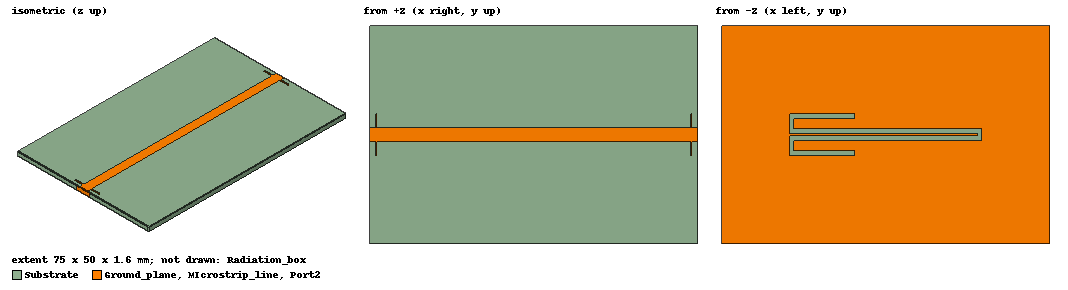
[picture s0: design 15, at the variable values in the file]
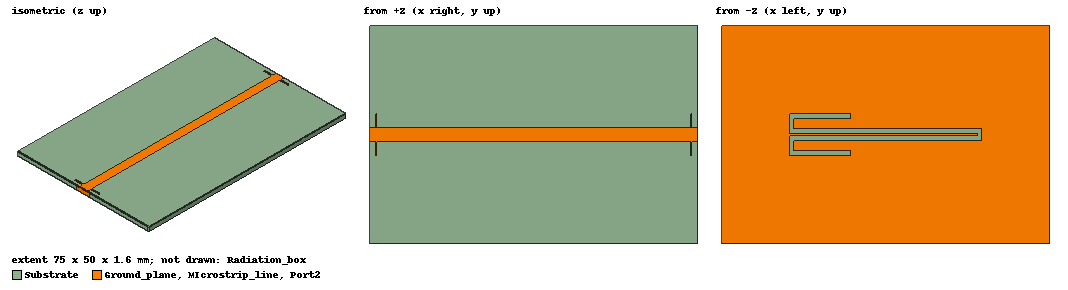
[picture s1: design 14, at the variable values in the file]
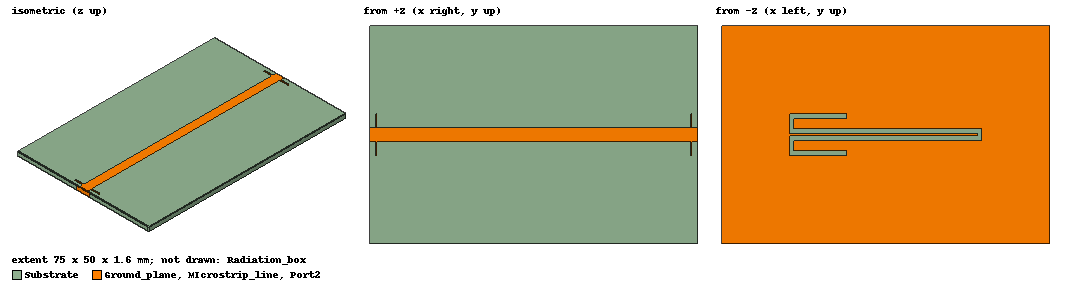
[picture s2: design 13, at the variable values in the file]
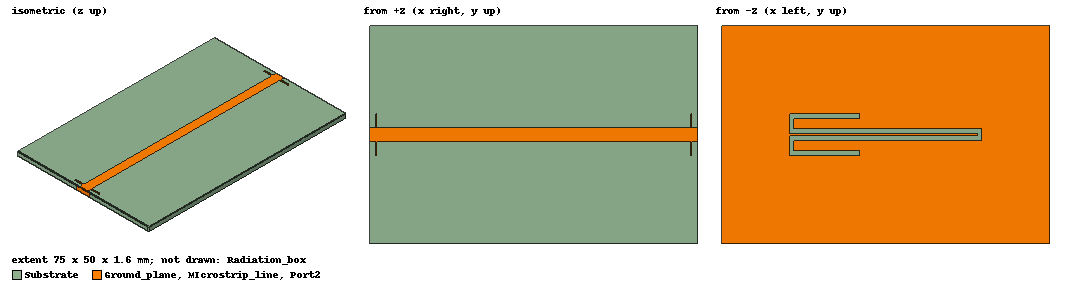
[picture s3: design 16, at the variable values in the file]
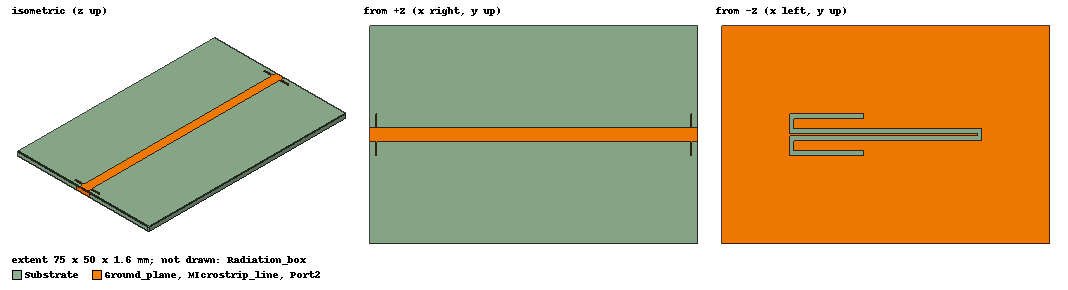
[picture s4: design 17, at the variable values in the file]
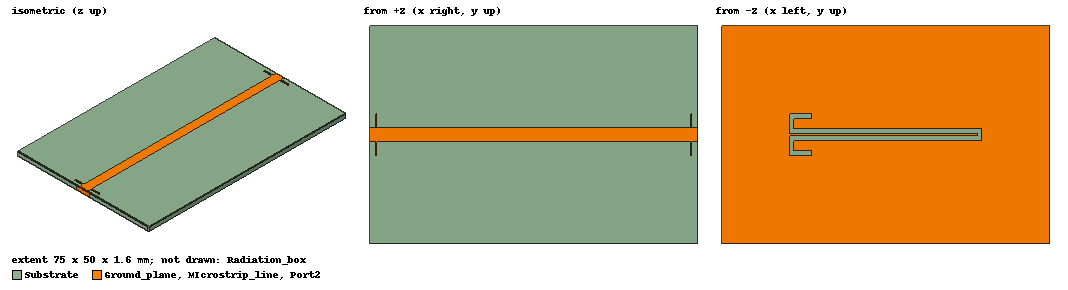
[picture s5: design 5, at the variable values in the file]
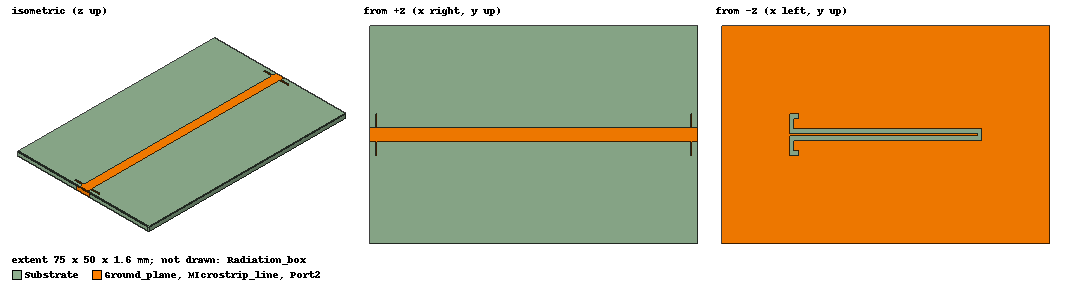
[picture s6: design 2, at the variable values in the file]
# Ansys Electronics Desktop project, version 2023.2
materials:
  vacuum: permittivity=1
  FR4_epoxy: permittivity=4.4 dielectric_loss_tangent=0.02
  air: permittivity=1.0006 permeability=1.0000004

design 15 (HFSS, HFSS Terminal Network, model units mm)
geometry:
  Substrate [FR4_epoxy] = box(corner=(-37.5mm, -25mm, 0mm), size=(75mm, 50mm, 1.6mm))
  Ground_plane = rectangle(corner=(-37.5mm, -25mm, 0mm), x_size=75mm, y_size=50mm)
  Rectangle1 = rectangle(corner=(-22mm, -1.3mm, 0mm), x_size=44mm, y_size=1mm)
  Rectangle2 = rectangle(corner=(-22mm, 0.3mm, 0mm), x_size=44mm, y_size=1mm)
  Rectangle3 = rectangle(corner=(-22mm, -0.3mm, 0mm), x_size=1mm, y_size=0.6mm)
  Rectangle4 = rectangle(corner=(22mm, -1.3mm, 0mm), x_size=-1mm, y_size=-2.4mm)
  Rectangle5 = rectangle(corner=(22mm, 3.7mm, 0mm), x_size=-1mm, y_size=-2.4mm)
  Rectangle6 = rectangle(corner=(22mm, -3.7mm, 0mm), x_size=-15mm, y_size=-1mm)
  Rectangle7 = rectangle(corner=(22mm, 4.7mm, 0mm), x_size=-15mm, y_size=-1mm)
  Ground_plane.subtract(Rectangle1..Rectangle7)
  MIcrostrip_line = rectangle(corner=(-37.5mm, -1.5mm, 1.6mm), x_size=75mm, y_size=3mm)
  Rectangle8 = rectangle(corner=(35.8mm, -1.5mm, 1.6mm), x_size=0.4mm, y_size=-3.4mm)
  Rectangle9 = rectangle(corner=(35.8mm, 1.5mm, 1.6mm), x_size=0.4mm, y_size=3.4mm)
  Rectangle10 = rectangle(corner=(-36.2mm, -1.5mm, 1.6mm), x_size=0.4mm, y_size=-3.4mm)
  Rectangle11 = rectangle(corner=(-36.2mm, 1.5mm, 1.6mm), x_size=0.4mm, y_size=3.4mm)
  MIcrostrip_line.unite(Rectangle8..Rectangle11)
  Port1 = rectangle(corner=(-37.5mm, -2.5mm, 1.6mm), y_size=5mm, z_size=-1.6mm)
  Port2 = rectangle(corner=(37.5mm, -2.5mm, 1.6mm), y_size=5mm, z_size=-1.6mm)
  Radiation_box [air] = box(corner=(-60mm, -45mm, -10mm), size=(125mm, 90mm, 35mm))
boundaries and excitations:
  PerfE1: Perfect E Objects=Ground_plane
  PerfE2: Perfect E Objects=MIcrostrip_line
  Rad1: Radiation Objects=Radiation_box
  1: Lumped Port Objects=Port1 LumpedPortType=Modal Modes{Mode1{IntLine{(-37.5, 0, 0) -> (-37.5, 0, 1.6)} CharImp=Zpi RenormImp=50ohm}} Impedance=50ohm
  2: Lumped Port Objects=Port2 LumpedPortType=Modal Modes{Mode1{IntLine{(37.5, 0, 0) -> (37.5, 0, 1.6)} CharImp=Zpi RenormImp=50ohm}} Impedance=50ohm
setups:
  Setup1: HfssDriven Frequency=1GHz MaxDeltaS=0.02 MaximumPasses=6 MinimumPasses=1 MinimumConvergedPasses=1 PercentRefinement=30 BasisOrder=1 PortAccuracy=2 DrivenSolverType="Direct Solver"
    sweep Sweep: 0.1GHz to 1.5GHz, 801 points; Type=Fast SaveFields
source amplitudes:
  1:1: 1V 0deg
  2:1: 0V 0deg
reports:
  S Parameter Plot 1: dB(S(1,1)), dB(S(2,1)), dB(S(1,2)), dB(S(2,2)) vs Freq on Setup1 : Sweep; markers m1 at 0.317GHz, m2 at 0.93825GHz, m3 at 0.926GHz, m4 at 0.9505GHz, m5 at 0.63375GHz, m6 at 1.19025GHz

design 14 (HFSS, HFSS Terminal Network, model units mm)
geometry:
  Substrate [FR4_epoxy] = box(corner=(-37.5mm, -25mm, 0mm), size=(75mm, 50mm, 1.6mm))
  Ground_plane = rectangle(corner=(-37.5mm, -25mm, 0mm), x_size=75mm, y_size=50mm)
  Rectangle1 = rectangle(corner=(-22mm, -1.3mm, 0mm), x_size=44mm, y_size=1mm)
  Rectangle2 = rectangle(corner=(-22mm, 0.3mm, 0mm), x_size=44mm, y_size=1mm)
  Rectangle3 = rectangle(corner=(-22mm, -0.3mm, 0mm), x_size=1mm, y_size=0.6mm)
  Rectangle4 = rectangle(corner=(22mm, -1.3mm, 0mm), x_size=-1mm, y_size=-2.4mm)
  Rectangle5 = rectangle(corner=(22mm, 3.7mm, 0mm), x_size=-1mm, y_size=-2.4mm)
  Rectangle6 = rectangle(corner=(22mm, -3.7mm, 0mm), x_size=-14mm, y_size=-1mm)
  Rectangle7 = rectangle(corner=(22mm, 4.7mm, 0mm), x_size=-14mm, y_size=-1mm)
  Ground_plane.subtract(Rectangle1..Rectangle7)
  MIcrostrip_line = rectangle(corner=(-37.5mm, -1.5mm, 1.6mm), x_size=75mm, y_size=3mm)
  Rectangle8 = rectangle(corner=(35.8mm, -1.5mm, 1.6mm), x_size=0.4mm, y_size=-3.4mm)
  Rectangle9 = rectangle(corner=(35.8mm, 1.5mm, 1.6mm), x_size=0.4mm, y_size=3.4mm)
  Rectangle10 = rectangle(corner=(-36.2mm, -1.5mm, 1.6mm), x_size=0.4mm, y_size=-3.4mm)
  Rectangle11 = rectangle(corner=(-36.2mm, 1.5mm, 1.6mm), x_size=0.4mm, y_size=3.4mm)
  MIcrostrip_line.unite(Rectangle8..Rectangle11)
  Port1 = rectangle(corner=(-37.5mm, -2.5mm, 1.6mm), y_size=5mm, z_size=-1.6mm)
  Port2 = rectangle(corner=(37.5mm, -2.5mm, 1.6mm), y_size=5mm, z_size=-1.6mm)
  Radiation_box [air] = box(corner=(-60mm, -45mm, -10mm), size=(125mm, 90mm, 35mm))
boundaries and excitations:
  PerfE1: Perfect E Objects=Ground_plane
  PerfE2: Perfect E Objects=MIcrostrip_line
  Rad1: Radiation Objects=Radiation_box
  1: Lumped Port Objects=Port1 LumpedPortType=Modal Modes{Mode1{IntLine{(-37.5, 0, 0) -> (-37.5, 0, 1.6)} CharImp=Zpi RenormImp=50ohm}} Impedance=50ohm
  2: Lumped Port Objects=Port2 LumpedPortType=Modal Modes{Mode1{IntLine{(37.5, 0, 0) -> (37.5, 0, 1.6)} CharImp=Zpi RenormImp=50ohm}} Impedance=50ohm
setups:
  Setup1: HfssDriven Frequency=1GHz MaxDeltaS=0.02 MaximumPasses=6 MinimumPasses=1 MinimumConvergedPasses=1 PercentRefinement=30 BasisOrder=1 PortAccuracy=2 DrivenSolverType="Direct Solver"
    sweep Sweep: 0.1GHz to 1.5GHz, 401 points; Type=Fast SaveFields
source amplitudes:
  1:1: 1V 0deg
  2:1: 0V 0deg
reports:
  S Parameter Plot 1: dB(S(1,1)), dB(S(2,1)), dB(S(1,2)), dB(S(2,2)) vs Freq on Setup1 : Sweep; markers m1 at 0.324GHz, m2 at 0.9225GHz, m3 at 0.9085GHz, m4 at 0.9365GHz, m5 at 0.6845GHz, m6 at 1.1745GHz

design 13 (HFSS, HFSS Terminal Network, model units mm)
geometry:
  Substrate [FR4_epoxy] = box(corner=(-37.5mm, -25mm, 0mm), size=(75mm, 50mm, 1.6mm))
  Ground_plane = rectangle(corner=(-37.5mm, -25mm, 0mm), x_size=75mm, y_size=50mm)
  Rectangle1 = rectangle(corner=(-22mm, -1.3mm, 0mm), x_size=44mm, y_size=1mm)
  Rectangle2 = rectangle(corner=(-22mm, 0.3mm, 0mm), x_size=44mm, y_size=1mm)
  Rectangle3 = rectangle(corner=(-22mm, -0.3mm, 0mm), x_size=1mm, y_size=0.6mm)
  Rectangle4 = rectangle(corner=(22mm, -1.3mm, 0mm), x_size=-1mm, y_size=-2.4mm)
  Rectangle5 = rectangle(corner=(22mm, 3.7mm, 0mm), x_size=-1mm, y_size=-2.4mm)
  Rectangle6 = rectangle(corner=(22mm, -3.7mm, 0mm), x_size=-13mm, y_size=-1mm)
  Rectangle7 = rectangle(corner=(22mm, 4.7mm, 0mm), x_size=-13mm, y_size=-1mm)
  Ground_plane.subtract(Rectangle1..Rectangle7)
  MIcrostrip_line = rectangle(corner=(-37.5mm, -1.5mm, 1.6mm), x_size=75mm, y_size=3mm)
  Rectangle8 = rectangle(corner=(35.8mm, -1.5mm, 1.6mm), x_size=0.4mm, y_size=-3.4mm)
  Rectangle9 = rectangle(corner=(35.8mm, 1.5mm, 1.6mm), x_size=0.4mm, y_size=3.4mm)
  Rectangle10 = rectangle(corner=(-36.2mm, -1.5mm, 1.6mm), x_size=0.4mm, y_size=-3.4mm)
  Rectangle11 = rectangle(corner=(-36.2mm, 1.5mm, 1.6mm), x_size=0.4mm, y_size=3.4mm)
  MIcrostrip_line.unite(Rectangle8..Rectangle11)
  Port1 = rectangle(corner=(-37.5mm, -2.5mm, 1.6mm), y_size=5mm, z_size=-1.6mm)
  Port2 = rectangle(corner=(37.5mm, -2.5mm, 1.6mm), y_size=5mm, z_size=-1.6mm)
  Radiation_box [air] = box(corner=(-60mm, -45mm, -10mm), size=(125mm, 90mm, 35mm))
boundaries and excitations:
  PerfE1: Perfect E Objects=Ground_plane
  PerfE2: Perfect E Objects=MIcrostrip_line
  Rad1: Radiation Objects=Radiation_box
  1: Lumped Port Objects=Port1 LumpedPortType=Modal Modes{Mode1{IntLine{(-37.5, 0, 0) -> (-37.5, 0, 1.6)} CharImp=Zpi RenormImp=50ohm}} Impedance=50ohm
  2: Lumped Port Objects=Port2 LumpedPortType=Modal Modes{Mode1{IntLine{(37.5, 0, 0) -> (37.5, 0, 1.6)} CharImp=Zpi RenormImp=50ohm}} Impedance=50ohm
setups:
  Setup1: HfssDriven Frequency=0.9GHz MaxDeltaS=0.02 MaximumPasses=6 MinimumPasses=1 MinimumConvergedPasses=1 PercentRefinement=30 BasisOrder=1 PortAccuracy=2 DrivenSolverType="Direct Solver"
    sweep Sweep: 0.1GHz to 1.5GHz, 401 points; Type=Fast SaveFields
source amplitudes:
  1:1: 1V 0deg
  2:1: 0V 0deg
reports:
  S Parameter Plot 1: dB(S(1,1)), dB(S(2,1)), dB(S(1,2)), dB(S(2,2)) vs Freq on Setup1 : Sweep; markers m1 at 0.303GHz, m2 at 0.9295GHz, m3 at 0.9155GHz, m4 at 0.9435GHz, m5 at 1.1675GHz, m6 at 0.576GHz

design 16 (HFSS, HFSS Terminal Network, model units mm)
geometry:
  Substrate [FR4_epoxy] = box(corner=(-37.5mm, -25mm, 0mm), size=(75mm, 50mm, 1.6mm))
  Ground_plane = rectangle(corner=(-37.5mm, -25mm, 0mm), x_size=75mm, y_size=50mm)
  Rectangle1 = rectangle(corner=(-22mm, -1.3mm, 0mm), x_size=44mm, y_size=1mm)
  Rectangle2 = rectangle(corner=(-22mm, 0.3mm, 0mm), x_size=44mm, y_size=1mm)
  Rectangle3 = rectangle(corner=(-22mm, -0.3mm, 0mm), x_size=1mm, y_size=0.6mm)
  Rectangle4 = rectangle(corner=(22mm, -1.3mm, 0mm), x_size=-1mm, y_size=-2.4mm)
  Rectangle5 = rectangle(corner=(22mm, 3.7mm, 0mm), x_size=-1mm, y_size=-2.4mm)
  Rectangle6 = rectangle(corner=(22mm, -3.7mm, 0mm), x_size=-16mm, y_size=-1mm)
  Rectangle7 = rectangle(corner=(22mm, 4.7mm, 0mm), x_size=-16mm, y_size=-1mm)
  Ground_plane.subtract(Rectangle1..Rectangle7)
  MIcrostrip_line = rectangle(corner=(-37.5mm, -1.5mm, 1.6mm), x_size=75mm, y_size=3mm)
  Rectangle8 = rectangle(corner=(35.8mm, -1.5mm, 1.6mm), x_size=0.4mm, y_size=-3.4mm)
  Rectangle9 = rectangle(corner=(35.8mm, 1.5mm, 1.6mm), x_size=0.4mm, y_size=3.4mm)
  Rectangle10 = rectangle(corner=(-36.2mm, -1.5mm, 1.6mm), x_size=0.4mm, y_size=-3.4mm)
  Rectangle11 = rectangle(corner=(-36.2mm, 1.5mm, 1.6mm), x_size=0.4mm, y_size=3.4mm)
  MIcrostrip_line.unite(Rectangle8..Rectangle11)
  Port1 = rectangle(corner=(-37.5mm, -2.5mm, 1.6mm), y_size=5mm, z_size=-1.6mm)
  Port2 = rectangle(corner=(37.5mm, -2.5mm, 1.6mm), y_size=5mm, z_size=-1.6mm)
  Radiation_box [air] = box(corner=(-60mm, -45mm, -10mm), size=(125mm, 90mm, 35mm))
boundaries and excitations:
  PerfE1: Perfect E Objects=Ground_plane
  PerfE2: Perfect E Objects=MIcrostrip_line
  Rad1: Radiation Objects=Radiation_box
  1: Lumped Port Objects=Port1 LumpedPortType=Modal Modes{Mode1{IntLine{(-37.5, 0, 0) -> (-37.5, 0, 1.6)} CharImp=Zpi RenormImp=50ohm}} Impedance=50ohm
  2: Lumped Port Objects=Port2 LumpedPortType=Modal Modes{Mode1{IntLine{(37.5, 0, 0) -> (37.5, 0, 1.6)} CharImp=Zpi RenormImp=50ohm}} Impedance=50ohm
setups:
  Setup1: HfssDriven Frequency=1GHz MaxDeltaS=0.02 MaximumPasses=6 MinimumPasses=1 MinimumConvergedPasses=1 PercentRefinement=30 BasisOrder=1 PortAccuracy=2 DrivenSolverType="Direct Solver"
    sweep Sweep: 0.1GHz to 1.5GHz, 401 points; Type=Fast SaveFields
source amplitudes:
  1:1: 1V 0deg
  2:1: 0V 0deg
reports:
  S Parameter Plot 1: dB(S(1,1)), dB(S(2,1)), dB(S(1,2)), dB(S(2,2)) vs Freq on Setup1 : Sweep; markers m1 at 0.317GHz, m2 at 0.933GHz, m3 at 0.9225GHz, m4 at 0.947GHz, m5 at 0.534GHz, m6 at 1.2375GHz

design 17 (HFSS, HFSS Terminal Network, model units mm)
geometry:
  Substrate [FR4_epoxy] = box(corner=(-37.5mm, -25mm, 0mm), size=(75mm, 50mm, 1.6mm))
  Ground_plane = rectangle(corner=(-37.5mm, -25mm, 0mm), x_size=75mm, y_size=50mm)
  Rectangle1 = rectangle(corner=(-22mm, -1.3mm, 0mm), x_size=44mm, y_size=1mm)
  Rectangle2 = rectangle(corner=(-22mm, 0.3mm, 0mm), x_size=44mm, y_size=1mm)
  Rectangle3 = rectangle(corner=(-22mm, -0.3mm, 0mm), x_size=1mm, y_size=0.6mm)
  Rectangle4 = rectangle(corner=(22mm, -1.3mm, 0mm), x_size=-1mm, y_size=-2.4mm)
  Rectangle5 = rectangle(corner=(22mm, 3.7mm, 0mm), x_size=-1mm, y_size=-2.4mm)
  Rectangle6 = rectangle(corner=(22mm, -3.7mm, 0mm), x_size=-17mm, y_size=-1mm)
  Rectangle7 = rectangle(corner=(22mm, 4.7mm, 0mm), x_size=-17mm, y_size=-1mm)
  Ground_plane.subtract(Rectangle1..Rectangle7)
  MIcrostrip_line = rectangle(corner=(-37.5mm, -1.5mm, 1.6mm), x_size=75mm, y_size=3mm)
  Rectangle8 = rectangle(corner=(35.8mm, -1.5mm, 1.6mm), x_size=0.4mm, y_size=-3.4mm)
  Rectangle9 = rectangle(corner=(35.8mm, 1.5mm, 1.6mm), x_size=0.4mm, y_size=3.4mm)
  Rectangle10 = rectangle(corner=(-36.2mm, -1.5mm, 1.6mm), x_size=0.4mm, y_size=-3.4mm)
  Rectangle11 = rectangle(corner=(-36.2mm, 1.5mm, 1.6mm), x_size=0.4mm, y_size=3.4mm)
  MIcrostrip_line.unite(Rectangle8..Rectangle11)
  Port1 = rectangle(corner=(-37.5mm, -2.5mm, 1.6mm), y_size=5mm, z_size=-1.6mm)
  Port2 = rectangle(corner=(37.5mm, -2.5mm, 1.6mm), y_size=5mm, z_size=-1.6mm)
  Radiation_box [air] = box(corner=(-60mm, -45mm, -10mm), size=(125mm, 90mm, 35mm))
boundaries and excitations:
  PerfE1: Perfect E Objects=Ground_plane
  PerfE2: Perfect E Objects=MIcrostrip_line
  Rad1: Radiation Objects=Radiation_box
  1: Lumped Port Objects=Port1 LumpedPortType=Modal Modes{Mode1{IntLine{(-37.5, 0, 0) -> (-37.5, 0, 1.6)} CharImp=Zpi RenormImp=50ohm}} Impedance=50ohm
  2: Lumped Port Objects=Port2 LumpedPortType=Modal Modes{Mode1{IntLine{(37.5, 0, 0) -> (37.5, 0, 1.6)} CharImp=Zpi RenormImp=50ohm}} Impedance=50ohm
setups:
  Setup1: HfssDriven Frequency=1GHz MaxDeltaS=0.02 MaximumPasses=6 MinimumPasses=1 MinimumConvergedPasses=1 PercentRefinement=30 BasisOrder=1 PortAccuracy=2 DrivenSolverType="Direct Solver"
    sweep Sweep: 0.1GHz to 1.5GHz, 901 points; Type=Fast SaveFields
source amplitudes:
  1:1: 1V 0deg
  2:1: 0V 0deg
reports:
  S Parameter Plot 1: dB(S(1,1)), dB(S(2,1)), dB(S(1,2)), dB(S(2,2)) vs Freq on Setup1 : Sweep; markers m1 at 0.91822222GHz, m2 at 0.90422222GHz, m3 at 0.93066667GHz, m4 at 0.59933333GHz, m5 at 1.136GHz, m6 at 0.31466667GHz

design 5 (HFSS, HFSS Terminal Network, model units mm)
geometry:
  Substrate [FR4_epoxy] = box(corner=(-37.5mm, -25mm, 0mm), size=(75mm, 50mm, 1.6mm))
  Ground_plane = rectangle(corner=(-37.5mm, -25mm, 0mm), x_size=75mm, y_size=50mm)
  Rectangle1 = rectangle(corner=(-22mm, -1.3mm, 0mm), x_size=44mm, y_size=1mm)
  Rectangle2 = rectangle(corner=(-22mm, 0.3mm, 0mm), x_size=44mm, y_size=1mm)
  Rectangle3 = rectangle(corner=(-22mm, -0.3mm, 0mm), x_size=1mm, y_size=0.6mm)
  Rectangle4 = rectangle(corner=(22mm, -1.3mm, 0mm), x_size=-1mm, y_size=-2.4mm)
  Rectangle5 = rectangle(corner=(22mm, 3.7mm, 0mm), x_size=-1mm, y_size=-2.4mm)
  Rectangle6 = rectangle(corner=(22mm, -3.7mm, 0mm), x_size=-5mm, y_size=-1mm)
  Rectangle7 = rectangle(corner=(22mm, 4.7mm, 0mm), x_size=-5mm, y_size=-1mm)
  Ground_plane.subtract(Rectangle1..Rectangle7)
  MIcrostrip_line = rectangle(corner=(-37.5mm, -1.5mm, 1.6mm), x_size=75mm, y_size=3mm)
  Rectangle8 = rectangle(corner=(35.8mm, -1.5mm, 1.6mm), x_size=0.4mm, y_size=-3.4mm)
  Rectangle9 = rectangle(corner=(35.8mm, 1.5mm, 1.6mm), x_size=0.4mm, y_size=3.4mm)
  Rectangle10 = rectangle(corner=(-36.2mm, -1.5mm, 1.6mm), x_size=0.4mm, y_size=-3.4mm)
  Rectangle11 = rectangle(corner=(-36.2mm, 1.5mm, 1.6mm), x_size=0.4mm, y_size=3.4mm)
  MIcrostrip_line.unite(Rectangle8..Rectangle11)
  Port1 = rectangle(corner=(-37.5mm, -2.5mm, 1.6mm), y_size=5mm, z_size=-1.6mm)
  Port2 = rectangle(corner=(37.5mm, -2.5mm, 1.6mm), y_size=5mm, z_size=-1.6mm)
  Radiation_box [air] = box(corner=(-60mm, -45mm, -10mm), size=(125mm, 90mm, 35mm))
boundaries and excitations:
  PerfE1: Perfect E Objects=Ground_plane
  PerfE2: Perfect E Objects=MIcrostrip_line
  Rad1: Radiation Objects=Radiation_box
  1: Lumped Port Objects=Port1 LumpedPortType=Modal Modes{Mode1{IntLine{(-37.5, 0, 0) -> (-37.5, 0, 1.6)} CharImp=Zpi RenormImp=50ohm}} Impedance=50ohm
  2: Lumped Port Objects=Port2 LumpedPortType=Modal Modes{Mode1{IntLine{(37.5, 0, 0) -> (37.5, 0, 1.6)} CharImp=Zpi RenormImp=50ohm}} Impedance=50ohm
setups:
  Setup1: HfssDriven Frequency=1GHz MaxDeltaS=0.02 MaximumPasses=6 MinimumPasses=1 MinimumConvergedPasses=1 PercentRefinement=30 BasisOrder=1 PortAccuracy=2 DrivenSolverType="Direct Solver"
    sweep Sweep: 0.1GHz to 1.5GHz, 901 points; Type=Fast SaveFields
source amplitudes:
  1:1: 1V 0deg
  2:1: 0V 0deg
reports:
  S Parameter Plot 1: dB(S(1,1)), dB(S(2,1)), dB(S(1,2)), dB(S(2,2)) vs Freq on Setup1 : Sweep; markers m1 at 1.0955556GHz, m2 at 0.98044444GHz, m3 at 1.0006667GHz, m4 at 0.99133333GHz

design 2 (HFSS, HFSS Terminal Network, model units mm)
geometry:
  Substrate [FR4_epoxy] = box(corner=(-37.5mm, -25mm, 0mm), size=(75mm, 50mm, 1.6mm))
  Ground_plane = rectangle(corner=(-37.5mm, -25mm, 0mm), x_size=75mm, y_size=50mm)
  Rectangle1 = rectangle(corner=(-22mm, -1.3mm, 0mm), x_size=44mm, y_size=1mm)
  Rectangle2 = rectangle(corner=(-22mm, 0.3mm, 0mm), x_size=44mm, y_size=1mm)
  Rectangle3 = rectangle(corner=(-22mm, -0.3mm, 0mm), x_size=1mm, y_size=0.6mm)
  Rectangle4 = rectangle(corner=(22mm, -1.3mm, 0mm), x_size=-1mm, y_size=-2.4mm)
  Rectangle5 = rectangle(corner=(22mm, 3.7mm, 0mm), x_size=-1mm, y_size=-2.4mm)
  Rectangle6 = rectangle(corner=(22mm, -3.7mm, 0mm), x_size=-2mm, y_size=-1mm)
  Rectangle7 = rectangle(corner=(22mm, 4.7mm, 0mm), x_size=-2mm, y_size=-1mm)
  Ground_plane.subtract(Rectangle1..Rectangle7)
  MIcrostrip_line = rectangle(corner=(-37.5mm, -1.5mm, 1.6mm), x_size=75mm, y_size=3mm)
  Rectangle8 = rectangle(corner=(35.8mm, -1.5mm, 1.6mm), x_size=0.4mm, y_size=-3.4mm)
  Rectangle9 = rectangle(corner=(35.8mm, 1.5mm, 1.6mm), x_size=0.4mm, y_size=3.4mm)
  Rectangle10 = rectangle(corner=(-36.2mm, -1.5mm, 1.6mm), x_size=0.4mm, y_size=-3.4mm)
  Rectangle11 = rectangle(corner=(-36.2mm, 1.5mm, 1.6mm), x_size=0.4mm, y_size=3.4mm)
  MIcrostrip_line.unite(Rectangle8..Rectangle11)
  Port1 = rectangle(corner=(-37.5mm, -2.5mm, 1.6mm), y_size=5mm, z_size=-1.6mm)
  Port2 = rectangle(corner=(37.5mm, -2.5mm, 1.6mm), y_size=5mm, z_size=-1.6mm)
  Radiation_box [air] = box(corner=(-60mm, -45mm, -10mm), size=(125mm, 90mm, 35mm))
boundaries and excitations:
  PerfE1: Perfect E Objects=Ground_plane
  PerfE2: Perfect E Objects=MIcrostrip_line
  Rad1: Radiation Objects=Radiation_box
  1: Lumped Port Objects=Port1 LumpedPortType=Modal Modes{Mode1{IntLine{(-37.5, 0, 0) -> (-37.5, 0, 1.6)} CharImp=Zpi RenormImp=50ohm}} Impedance=50ohm
  2: Lumped Port Objects=Port2 LumpedPortType=Modal Modes{Mode1{IntLine{(37.5, 0, 0) -> (37.5, 0, 1.6)} CharImp=Zpi RenormImp=50ohm}} Impedance=50ohm
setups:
  Setup1: HfssDriven Frequency=1GHz MaxDeltaS=0.02 MaximumPasses=6 MinimumPasses=1 MinimumConvergedPasses=1 PercentRefinement=30 BasisOrder=1 PortAccuracy=2 DrivenSolverType="Direct Solver"
    sweep Sweep: 0.1GHz to 1.5GHz, 901 points; Type=Fast SaveFields
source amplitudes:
  1:1: 1V 0deg
  2:1: 0V 0deg
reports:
  S Parameter Plot 1: dB(S(1,1)), dB(S(2,1)), dB(S(1,2)), dB(S(2,2)) vs Freq on Setup1 : Sweep; markers m1 at 1.0131111GHz, m2 at 1.0317778GHz, m3 at 1.3366667GHz, m4 at 1.0224444GHz, m5 at 0.63977778GHz, m6 at 0.394GHz
